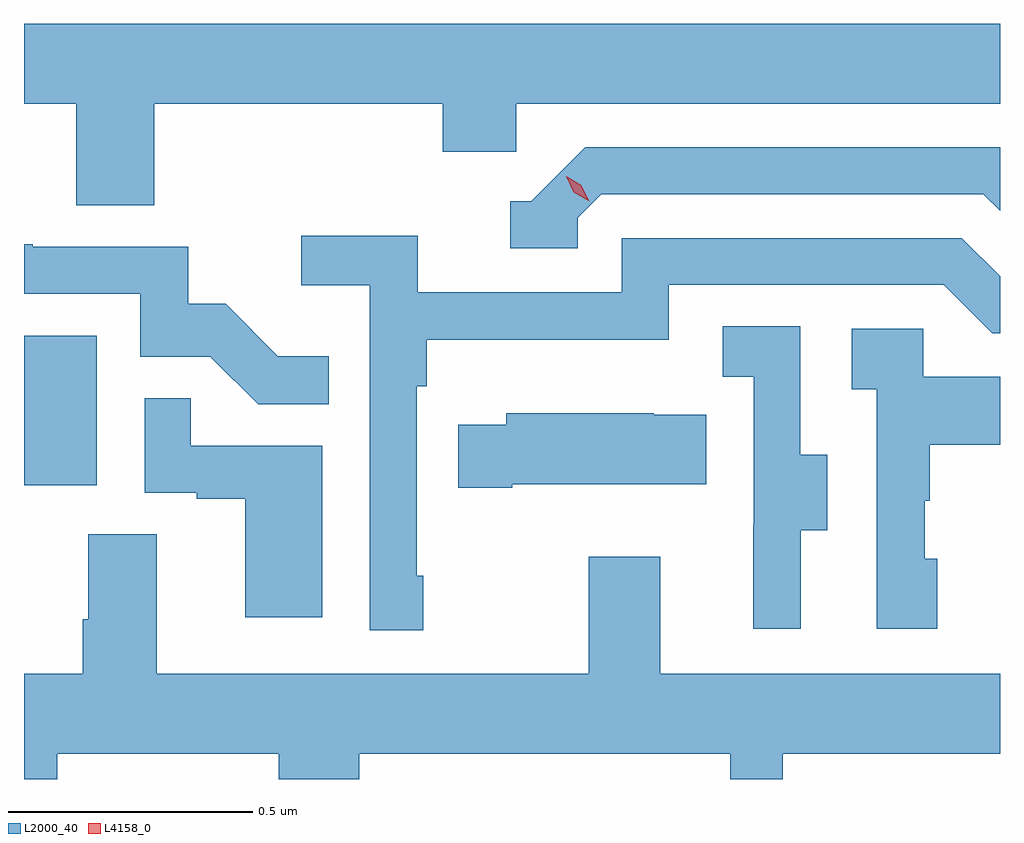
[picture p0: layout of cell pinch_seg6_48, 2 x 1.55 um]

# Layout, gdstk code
import gdstk
lib = gdstk.Library(unit=1e-6, precision=1e-09)
def R(c, l, rs):  # rectangles x0, y0, x1, y1
    for r in rs: c.add(gdstk.rectangle(r[:2], r[2:], *l))
def P(c, l, *ps):  # polygons
    for p in ps: c.add(gdstk.Polygon(p, *l))
L2000_40 = (2000, 40)
L4158_0 = (4158, 0)

pinch_seg6_48 = lib.new_cell('pinch_seg6_48')
R(pinch_seg6_48, L2000_40, [(992.729,939.894,992.878,940.201)])
P(pinch_seg6_48, L2000_40, [(992.996,940.676),(993.587,940.676),(993.587,940.578),(993.738,940.578),(993.738,940.676),(994.729,940.676),(994.729,940.84),(992.729,940.84),(992.729,940.676),(992.836,940.676),(992.836,940.468),(992.996,940.468)],
  [(993.864,940.443),(993.912,940.491),(994.695,940.491),(994.729,940.457),(994.729,940.587),(993.879,940.587),(993.768,940.476),(993.725,940.476),(993.725,940.38),(993.864,940.38)],
  [(993.547,939.709),(993.534,939.709),(993.534,940.097),(993.554,940.097),(993.554,940.193),(994.05,940.193),(994.05,940.305),(994.614,940.305),(994.713,940.206),(994.729,940.206),(994.729,940.323),(994.651,940.401),(993.954,940.401),(993.954,940.29),(993.536,940.29),(993.536,940.406),(993.297,940.406),(993.297,940.304),(993.438,940.304),(993.438,939.597),(993.547,939.597)],
  [(993.353,940.159),(993.249,940.159),(993.142,940.266),(993.066,940.266),(993.066,940.383),(992.747,940.383),(992.747,940.388),(992.729,940.388),(992.729,940.287),(992.967,940.287),(992.967,940.158),(993.111,940.158),(993.209,940.06),(993.353,940.06)],
  [(994.321,939.802),(994.375,939.802),(994.375,939.957),(994.32,939.957),(994.32,940.22),(994.161,940.22),(994.161,940.117),(994.224,940.117),(994.224,939.813),(994.223,939.813),(994.223,939.6),(994.321,939.6)],
  [(994.6,939.744),(994.575,939.744),(994.575,939.863),(994.585,939.863),(994.585,939.977),(994.729,939.977),(994.729,940.117),(994.572,940.117),(994.572,940.215),(994.425,940.215),(994.425,940.091),(994.476,940.091),(994.476,939.6),(994.6,939.6)],
  [(993.34,939.975),(993.071,939.975),(993.071,940.073),(992.976,940.073),(992.976,939.879),(993.083,939.879),(993.083,939.867),(993.182,939.867),(993.182,939.624),(993.34,939.624)],
  [(993.73,939.896),(994.127,939.896),(994.127,940.039),(994.019,940.039),(994.019,940.042),(993.717,940.042),(993.717,940.018),(993.619,940.018),(993.619,939.889),(993.73,939.889)],
  [(992.797,939.344),(993.251,939.344),(993.251,939.292),(993.416,939.292),(993.416,939.344),(994.176,939.344),(994.176,939.292),(994.284,939.292),(994.284,939.344),(994.729,939.344),(994.729,939.508),(994.033,939.508),(994.033,939.748),(993.886,939.748),(993.886,939.508),(993.001,939.508),(993.001,939.794),(992.861,939.794),(992.861,939.62),(992.849,939.62),(992.849,939.508),(992.729,939.508),(992.729,939.292),(992.797,939.292)])
P(pinch_seg6_48, L4158_0, [(993.887,940.476),(993.856,940.495),(993.84,940.528),(993.84,940.528),(993.84,940.528),(993.871,940.509),(993.887,940.476),(993.887,940.476)])

lib.write_gds('pinch_seg6_48.gds')
